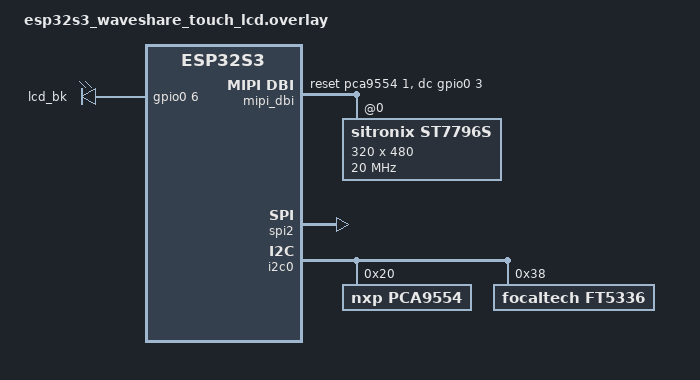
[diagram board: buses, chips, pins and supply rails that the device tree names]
#include <zephyr/dt-bindings/mipi_dbi/mipi_dbi.h>
#include <zephyr/dt-bindings/gpio/gpio.h>

/ {
  chosen {
    zephyr,display = &st7796s;
    zephyr,touch = &ft5336;
  };

  aliases {
    backlight = &lcd_bk;
  };

  mipi_dbi {
    compatible = "zephyr,mipi-dbi-spi";
    dc-gpios = <&gpio0 3 GPIO_ACTIVE_HIGH>;
    reset-gpios = <&pca9554 1 GPIO_ACTIVE_HIGH>;
    spi-dev = <&spi2>;
    write-only;
    #address-cells = <1>;
    #size-cells = <0>;

    st7796s: st7796s@0 {
      compatible = "sitronix,st7796s";
      reg = <0>;
      mipi-max-frequency = <DT_FREQ_M(20)>;
      mipi-mode = "MIPI_DBI_MODE_SPI_4WIRE";
      height = <480>;
      width = <320>;
      // colmod = <0x05>; // 0x3A
      invert-mode = "1-dot"; // 0xB4 (dic)
      dfc = [ 80 22 3B  ]; // 0xB6
      doca = [ 40 8A 00 00 29 19 A5 33  ]; // 0xE8
      pwr2 = <0x06>; // 0xC1
      pwr3 = <0xA7>; // 0xC2
      vcmpctl = <0x18>; // 0xC5
      pgc = [ F0 09 0B 06 04 15 2F 54 42 3C 17 14 18 1B  ]; // 0xE0
      ngc = [ E0 09 0B 06 04 03 2B 43 42 3B 16 14 17 1B  ]; // 0xE1
    };
  };

  leds {
    compatible = "gpio-leds";
    status = "okay";
    lcd_bk: led_0 {
      gpios = <&gpio0 6 GPIO_ACTIVE_HIGH>;
    };
  };
};

&spim2_default {
  group1 {
    pinmux = <SPIM2_MISO_GPIO2>,
             <SPIM2_SCLK_GPIO5>;
  };
  group2 {
    pinmux = <SPIM2_MOSI_GPIO1>;
    output-low;
  };
};

&spi2 {
  #address-cells = <1>;
  #size-cells = <0>;
  status = "okay";
  pinctrl-0 = <&spim2_default>;
  cs-gpios = <&pca9554 2 GPIO_ACTIVE_LOW>;
  pinctrl-names = "default";
};

&i2c0 {
  status = "okay";
  pca9554: pca9554@20 {
    compatible = "nxp,pca9554";
    reg = <0x20>;
    gpio-controller;
    #gpio-cells = <2>;
    ngpios = <8>;
  };

  ft5336: ft5336@38 {
    status = "okay";
    compatible = "focaltech,ft5336";
    reg = <0x38>;
  };
};

&i2c0_default {
  group1 {
    pinmux = <I2C0_SDA_GPIO8>,
             <I2C0_SCL_GPIO7>;
    bias-pull-up;
    drive-open-drain;
    output-high;
  };
};

&dma {
  status = "okay";
};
